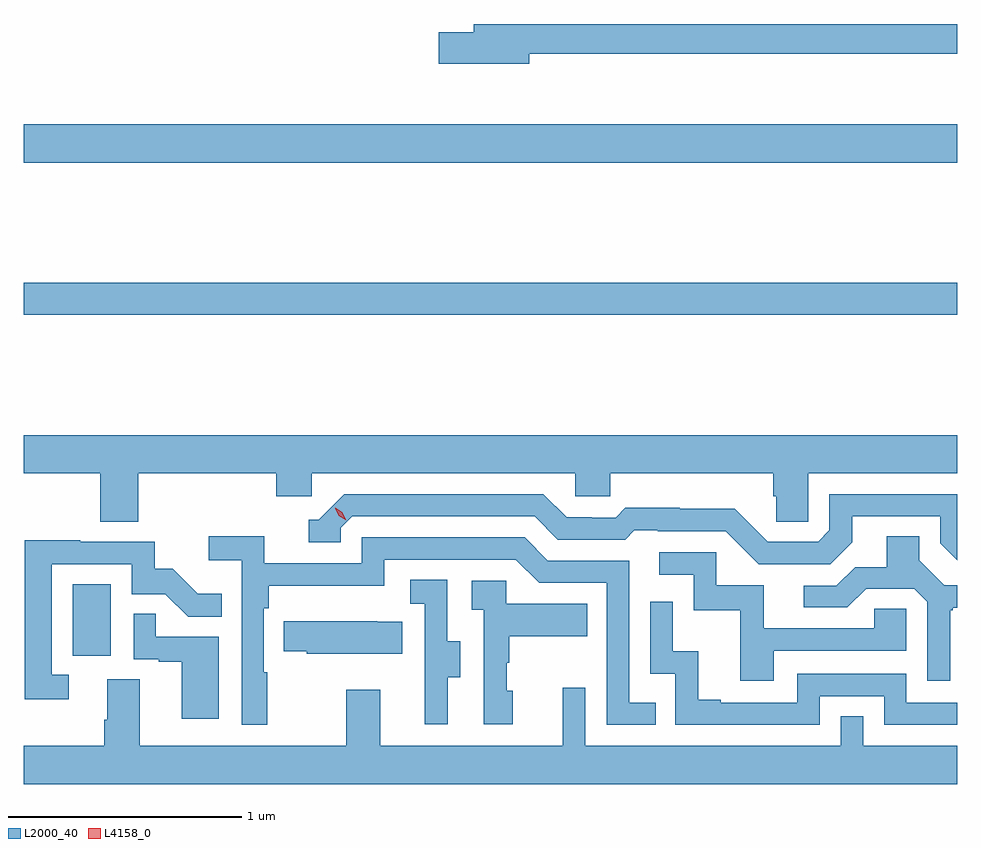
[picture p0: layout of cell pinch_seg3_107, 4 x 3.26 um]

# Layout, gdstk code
import gdstk
lib = gdstk.Library(unit=1e-6, precision=1e-09)
def R(c, l, rs):  # rectangles x0, y0, x1, y1
    for r in rs: c.add(gdstk.rectangle(r[:2], r[2:], *l))
def P(c, l, *ps):  # polygons
    for p in ps: c.add(gdstk.Polygon(p, *l))
L2000_40 = (2000, 40)
L4158_0 = (4158, 0)

pinch_seg3_107 = lib.new_cell('pinch_seg3_107')
R(pinch_seg3_107, L2000_40, [(1020.464,713.454,1020.628,713.761), (1020.255,714.916,1024.255,715.052), (1020.255,715.568,1024.255,715.732)])
P(pinch_seg3_107, L2000_40, [(1022.422,716.034),(1024.255,716.034),(1024.255,716.162),(1022.183,716.162),(1022.183,716.126),(1022.034,716.126),(1022.034,715.991),(1022.422,715.991)],
  [(1020.746,714.236),(1021.337,714.236),(1021.337,714.138),(1021.488,714.138),(1021.488,714.236),(1022.619,714.236),(1022.619,714.138),(1022.769,714.138),(1022.769,714.236),(1023.467,714.236),(1023.467,714.138),(1023.481,714.138),(1023.481,714.028),(1023.618,714.028),(1023.618,714.236),(1024.255,714.236),(1024.255,714.4),(1020.255,714.4),(1020.255,714.236),(1020.581,714.236),(1020.581,714.028),(1020.746,714.028)],
  [(1023.805,713.941),(1023.805,714.051),(1024.182,714.051),(1024.182,713.937),(1024.255,713.864),(1024.255,714.147),(1023.708,714.147),(1023.708,713.991),(1023.66,713.943),(1023.444,713.943),(1023.302,714.085),(1023.066,714.085),(1023.066,714.088),(1022.833,714.088),(1022.791,714.045),(1022.688,714.045),(1022.688,714.048),(1022.581,714.048),(1022.482,714.147),(1021.629,714.147),(1021.518,714.036),(1021.475,714.036),(1021.475,713.94),(1021.614,713.94),(1021.614,714.003),(1021.662,714.051),(1022.445,714.051),(1022.544,713.952),(1022.833,713.952),(1022.872,713.991),(1022.971,713.991),(1022.971,713.988),(1023.264,713.988),(1023.405,713.847),(1023.711,713.847)],
  [(1024.225,713.649),(1024.237,713.649),(1024.237,713.66),(1024.255,713.66),(1024.255,713.757),(1024.2,713.757),(1024.093,713.864),(1024.093,713.966),(1023.953,713.966),(1023.953,713.834),(1023.818,713.834),(1023.738,713.754),(1023.597,713.754),(1023.597,713.661),(1023.784,713.661),(1023.865,713.742),(1024.071,713.742),(1024.128,713.685),(1024.128,713.346),(1024.225,713.346)],
  [(1021.297,713.384),(1021.284,713.384),(1021.284,713.657),(1021.304,713.657),(1021.304,713.753),(1021.8,713.753),(1021.8,713.865),(1022.364,713.865),(1022.463,713.766),(1022.754,713.766),(1022.754,713.157),(1022.963,713.157),(1022.963,713.253),(1022.85,713.253),(1022.85,713.862),(1022.5,713.862),(1022.401,713.961),(1021.704,713.961),(1021.704,713.85),(1021.286,713.85),(1021.286,713.966),(1021.047,713.966),(1021.047,713.864),(1021.188,713.864),(1021.188,713.157),(1021.297,713.157)],
  [(1020.448,713.373),(1020.375,713.373),(1020.375,713.847),(1020.717,713.847),(1020.717,713.718),(1020.861,713.718),(1020.959,713.62),(1021.103,713.62),(1021.103,713.719),(1020.999,713.719),(1020.892,713.826),(1020.816,713.826),(1020.816,713.943),(1020.497,713.943),(1020.497,713.948),(1020.259,713.948),(1020.259,713.268),(1020.448,713.268)],
  [(1023.469,713.475),(1024.038,713.475),(1024.038,713.655),(1023.901,713.655),(1023.901,713.571),(1023.427,713.571),(1023.427,713.757),(1023.222,713.757),(1023.222,713.898),(1022.979,713.898),(1022.979,713.802),(1023.126,713.802),(1023.126,713.649),(1023.325,713.649),(1023.325,713.346),(1023.469,713.346)],
  [(1022.071,713.362),(1022.125,713.362),(1022.125,713.517),(1022.07,713.517),(1022.07,713.78),(1021.911,713.78),(1021.911,713.677),(1021.974,713.677),(1021.974,713.373),(1021.973,713.373),(1021.973,713.16),(1022.071,713.16)],
  [(1022.35,713.304),(1022.325,713.304),(1022.325,713.423),(1022.335,713.423),(1022.335,713.537),(1022.669,713.537),(1022.669,713.677),(1022.322,713.677),(1022.322,713.775),(1022.175,713.775),(1022.175,713.651),(1022.226,713.651),(1022.226,713.16),(1022.35,713.16)],
  [(1023.666,713.28),(1023.942,713.28),(1023.942,713.157),(1024.255,713.157),(1024.255,713.253),(1024.038,713.253),(1024.038,713.376),(1023.57,713.376),(1023.57,713.253),(1023.241,713.253),(1023.241,713.266),(1023.146,713.266),(1023.146,713.474),(1023.036,713.474),(1023.036,713.686),(1022.94,713.686),(1022.94,713.376),(1023.048,713.376),(1023.048,713.157),(1023.666,713.157)],
  [(1021.09,713.535),(1020.821,713.535),(1020.821,713.633),(1020.726,713.633),(1020.726,713.439),(1020.833,713.439),(1020.833,713.427),(1020.932,713.427),(1020.932,713.184),(1021.09,713.184)],
  [(1021.877,713.599),(1021.769,713.599),(1021.769,713.602),(1021.369,713.602),(1021.369,713.473),(1021.467,713.473),(1021.467,713.462),(1021.877,713.462)],
  [(1024.255,713.068),(1023.852,713.068),(1023.852,713.195),(1023.756,713.195),(1023.756,713.068),(1022.661,713.068),(1022.661,713.317),(1022.564,713.317),(1022.564,713.068),(1021.783,713.068),(1021.783,713.308),(1021.636,713.308),(1021.636,713.068),(1020.751,713.068),(1020.751,713.354),(1020.611,713.354),(1020.611,713.18),(1020.599,713.18),(1020.599,713.068),(1020.255,713.068),(1020.255,712.904),(1024.255,712.904)])
P(pinch_seg3_107, L4158_0, [(1021.636,714.035),(1021.605,714.055),(1021.589,714.087),(1021.589,714.088),(1021.589,714.088),(1021.62,714.068),(1021.636,714.035),(1021.636,714.035)])

lib.write_gds('pinch_seg3_107.gds')
